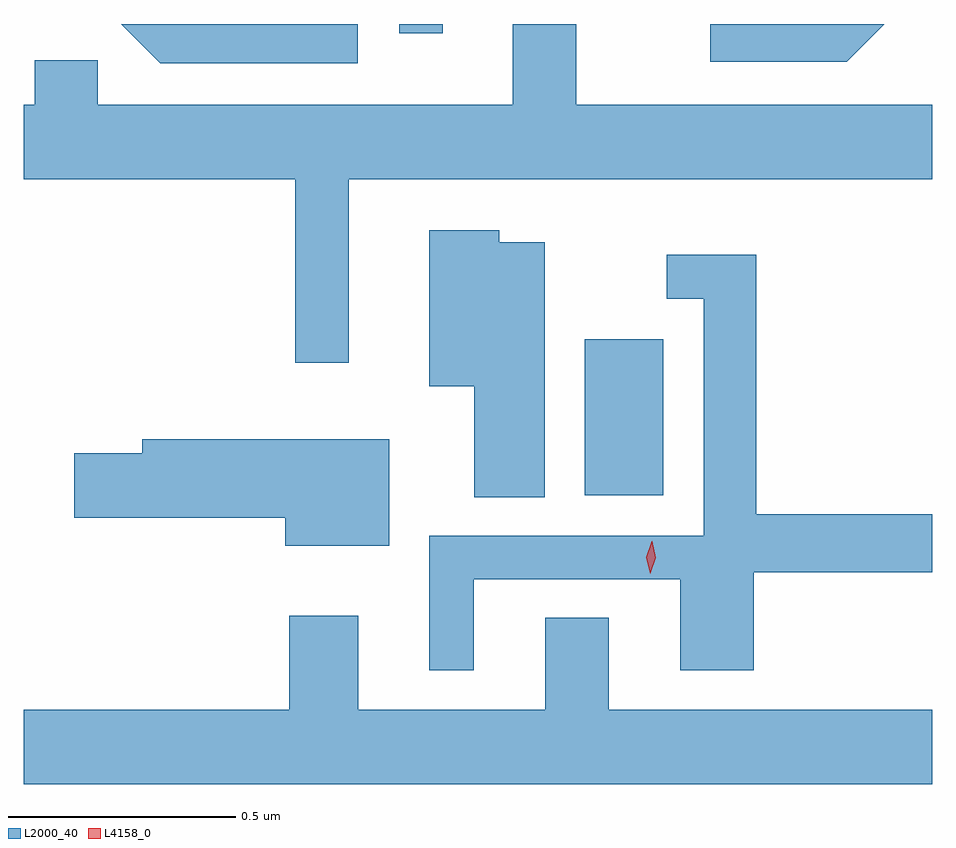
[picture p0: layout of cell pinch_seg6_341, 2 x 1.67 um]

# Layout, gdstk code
import gdstk
lib = gdstk.Library(unit=1e-6, precision=1e-09)
def R(c, l, rs):  # rectangles x0, y0, x1, y1
    for r in rs: c.add(gdstk.rectangle(r[:2], r[2:], *l))
def P(c, l, *ps):  # polygons
    for p in ps: c.add(gdstk.Polygon(p, *l))
L2000_40 = (2000, 40)
L4158_0 = (4158, 0)

pinch_seg6_341 = lib.new_cell('pinch_seg6_341')
R(pinch_seg6_341, L2000_40, [(758.09,945.308,758.263,945.652), (757.681,946.326,757.777,946.346)])
P(pinch_seg6_341, L2000_40, [(757.57,946.004),(758.855,946.004),(758.855,946.168),(758.071,946.168),(758.071,946.346),(757.931,946.346),(757.931,946.168),(757.017,946.168),(757.017,946.266),(756.879,946.266),(756.879,946.168),(756.855,946.168),(756.855,946.004),(757.453,946.004),(757.453,945.6),(757.57,945.6)],
  [(758.75,946.346),(758.367,946.346),(758.367,946.263),(758.667,946.263)],
  [(757.59,946.346),(757.069,946.346),(757.155,946.26),(757.59,946.26)],
  [(758.002,945.865),(757.902,945.865),(757.902,945.892),(757.748,945.892),(757.748,945.548),(757.847,945.548),(757.847,945.304),(758.002,945.304)],
  [(757.846,945.123),(758.3,945.123),(758.3,944.922),(758.462,944.922),(758.462,945.138),(758.855,945.138),(758.855,945.266),(758.468,945.266),(758.468,945.838),(758.271,945.838),(758.271,945.741),(758.352,945.741),(758.352,945.219),(757.748,945.219),(757.748,944.922),(757.846,944.922)],
  [(757.66,945.431),(757.115,945.431),(757.115,945.401),(756.966,945.401),(756.966,945.259),(757.43,945.259),(757.43,945.197),(757.66,945.197)],
  [(758.855,944.836),(758.143,944.836),(758.143,945.038),(758.003,945.038),(758.003,944.836),(757.591,944.836),(757.591,945.043),(757.439,945.043),(757.439,944.836),(756.855,944.836),(756.855,944.672),(758.855,944.672)])
P(pinch_seg6_341, L4158_0, [(758.234,945.135),(758.234,945.135),(758.226,945.171),(758.238,945.207),(758.238,945.207),(758.239,945.207),(758.246,945.17),(758.234,945.135)])

lib.write_gds('pinch_seg6_341.gds')
